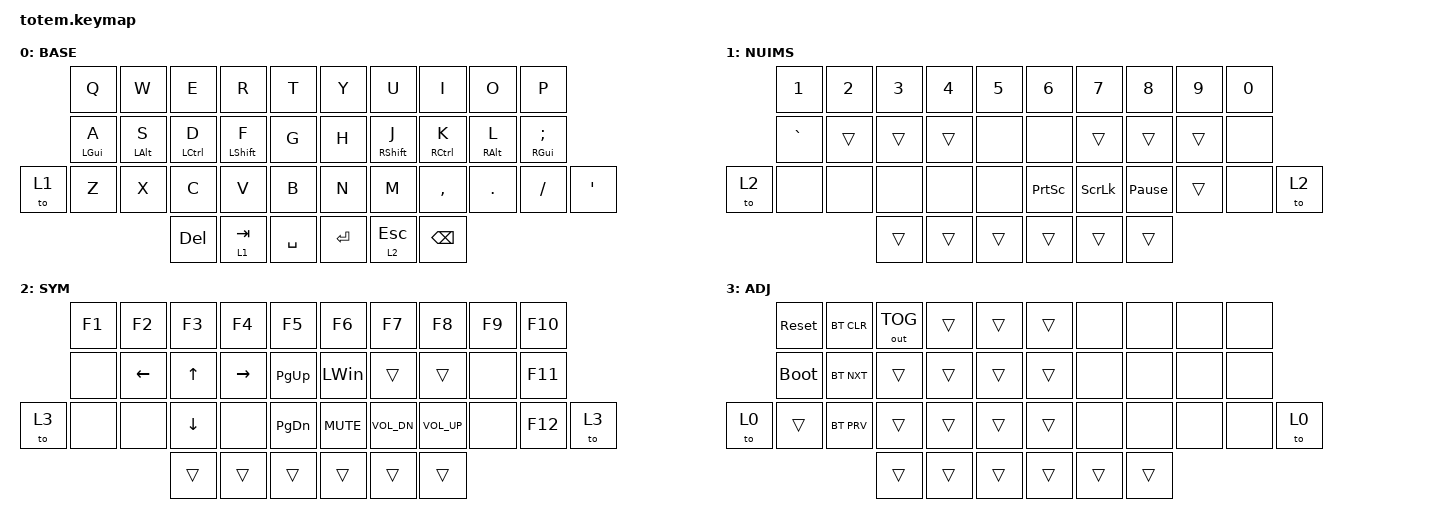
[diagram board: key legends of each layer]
//
//                                                        ▀▀▀▀▀     ▀▀▀▀▀          ▀▀█▀▀
//                                                        ▄▀▀▀▄  ▄  ▄▀▀▀▄  ▄  ▄▀▀▀▄  █  ▄▀▀▀▄
//                                                        █   █  █  █   █  █  █   █  █  █   █
//                                                         ▀▀▀   █   ▀▀▀   █   ▀▀▀   ▀   ▀▀▀
//                                                               █      ▄▄▄█▄▄▄    █   █  
//                                                               ▀      █  █  █     █▄█
//                                                             ▀▀▀▀▀    █  █  █      ▀
//                                                                      ▀  ▀  ▀
//
// ▄▄▄▄▄▄▄▄▄▄▄▄▄▄▄▄▄▄▄▄▄▄▄▄▄▄▄▄▄▄▄▄▄▄▄▄▄▄▄▄▄▄▄▄▄▄▄▄▄▄▄▄▄▄▄▄▄▄▄▄▄▄▄▄▄▄▄▄▄▄▄▄▄▄▄▄▄▄▄▄▄▄▄▄▄▄▄▄▄▄▄▄▄▄▄▄▄▄▄▄▄▄▄▄▄▄▄▄▄▄▄▄▄▄▄▄▄▄▄▄▄▄▄▄▄▄▄▄▄▄▄▄▄▄▄▄▄▄▄▄▄▄▄▄▄▄▄▄▄

#include <behaviors.dtsi>
#include <dt-bindings/zmk/bt.h>
#include <dt-bindings/zmk/keys.h>
#include <dt-bindings/zmk/outputs.h>

#define BASE 0
#define NAV  1
#define SYM  2
#define ADJ  3
#define TVP1 4
#define TVP2 5

&mt {
    quick-tap-ms = <100>;
    global-quick-tap;
    flavor = "tap-preferred";
    tapping-term-ms = <220>;
};

/ {
    combos {
        compatible = "zmk,combos";

        combo_esc {
            timeout-ms = <50>;
            key-positions = <0 1>;
            bindings = <&kp ESC>;
        };

        combo_tvp {
            timeout-ms = <100>;
            key-positions = <12 13 11>;
            bindings = <&to 0>;
        };
    };

    macros {
        gif: gif {
            label = "giphy";
            compatible = "zmk,behavior-macro";
            #binding-cells = <0>;
            bindings =
                <&macro_press>,
                <&kp LSHFT>,
                <&macro_tap>,
                <&kp N2>,
                <&macro_release>,
                <&kp LSHFT>,
                <&macro_tap>,
                <&kp G &kp I &kp F>;
        };
    };

    keymap {
        compatible = "zmk,keymap";

        // ▄▄▄▄▄▄▄▄▄▄▄▄▄▄▄▄▄▄▄▄▄▄▄▄▄▄▄▄▄▄▄▄▄▄▄▄▄▄▄▄▄▄▄▄▄▄▄▄▄▄▄▄▄▄▄▄▄▄▄▄▄▄▄▄▄▄▄▄▄▄▄▄▄▄▄▄▄▄▄▄▄▄▄▄▄▄▄▄▄▄▄▄▄▄▄▄▄▄▄▄▄▄▄▄▄▄▄▄▄▄▄▄▄▄▄▄▄▄▄▄▄▄▄▄▄▄▄▄▄▄▄▄▄▄▄▄▄▄▄▄▄▄▄▄▄▄▄▄▄

        base_layer {
            // ┏━━━━━━━━━━━━━━━━━━━━━━━━━━━━━━━━━━━━━━━┓

            label = "BASE";

            // ┗━━━━━━━━━━━━━━━━━━━━━━━━━━━━━━━━━━━━━━━┛
            //             ┏━━━━━━━━━━━┳━━━━━━━━━━━┳━━━━━━━━━━━┳━━━━━━━━━━━┳━━━━━━━━━━━┓   ┏━━━━━━━━━━━┳━━━━━━━━━━━┳━━━━━━━━━━━┳━━━━━━━━━━━┳━━━━━━━━━━━┓
            //             ┃     Q     ┃     W     ┃     F     ┃     P     ┃     G     ┃   ┃     J     ┃     L     ┃     U     ┃     Y     ┃     ;     ┃
            //             ┣━━━━━━━━━━━╋━━━━━━━━━━━╋━━━━━━━━━━━╋━━━━━━━━━━━╋━━━━━━━━━━━┫   ┣━━━━━━━━━━━╋━━━━━━━━━━━╋━━━━━━━━━━━╋━━━━━━━━━━━╋━━━━━━━━━━━┫
            //             ┃     A     ┃     R     ┃     S     ┃     T     ┃     D     ┃   ┃     H     ┃     N     ┃     E     ┃     I     ┃     O     ┃
            // ┏━━━━━━━━━━━╋━━━━━━━━━━━╋━━━━━━━━━━━╋━━━━━━━━━━━╋━━━━━━━━━━━╋━━━━━━━━━━━┫   ┣━━━━━━━━━━━╋━━━━━━━━━━━╋━━━━━━━━━━━╋━━━━━━━━━━━╋━━━━━━━━━━━╋━━━━━━━━━━━┓
            // ┃     Q     ┃     Z     ┃     X     ┃     C     ┃     V     ┃     B     ┃   ┃     K     ┃     M     ┃     ,     ┃     .     ┃     /     ┃     \     ┃
            // ┗━━━━━━━━━━━┻━━━━━━━━━━━┻━━━━━━━━━━━╋━━━━━━━━━━━╋━━━━━━━━━━━╋━━━━━━━━━━━┫   ┣━━━━━━━━━━━╋━━━━━━━━━━━╋━━━━━━━━━━━╋━━━━━━━━━━━┻━━━━━━━━━━━┻━━━━━━━━━━━┛
            //                                     ┃    DEL    ┃    TAB    ┃    SPC    ┃   ┃   ENTER   ┃           ┃   BSPC    ┃
            //                                     ┗━━━━━━━━━━━┻━━━━━━━━━━━┻━━━━━━━━━━━┛   ┗━━━━━━━━━━━┻━━━━━━━━━━━┻━━━━━━━━━━━┛

            bindings = <
       &kp Q       &kp W       &kp E        &kp R        &kp T        &kp Y    &kp U        &kp I        &kp O       &kp P
       &mt LGUI A  &mt LALT S  &mt LCTRL D  &mt LSHFT F  &kp G        &kp H    &mt RSHFT J  &mt RCTRL K  &mt RALT L  &mt RGUI SEMICOLON
&to 1  &kp Z       &kp X       &kp C        &kp V        &kp B        &kp N    &kp M        &kp COMMA    &kp DOT     &kp FSLH            &kp SQT
                               &kp DEL      &lt 1 TAB    &kp SPACE    &kp RET  &lt 2 ESC    &kp BSPC
            >;
        };

        // ▄▄▄▄▄▄▄▄▄▄▄▄▄▄▄▄▄▄▄▄▄▄▄▄▄▄▄▄▄▄▄▄▄▄▄▄▄▄▄▄▄▄▄▄▄▄▄▄▄▄▄▄▄▄▄▄▄▄▄▄▄▄▄▄▄▄▄▄▄▄▄▄▄▄▄▄▄▄▄▄▄▄▄▄▄▄▄▄▄▄▄▄▄▄▄▄▄▄▄▄▄▄▄▄▄▄▄▄▄▄▄▄▄▄▄▄▄▄▄▄▄▄▄▄▄▄▄▄▄▄▄▄▄▄▄▄▄▄▄▄▄▄▄▄▄▄▄▄▄

        nav_layer {
            // ┏━━━━━━━━━━━━━━━━━━━━━━━━━━━━━━━━━━━━━━━┓

            label = "NUIMS";

            // ┗━━━━━━━━━━━━━━━━━━━━━━━━━━━━━━━━━━━━━━━┛
            //             ┏━━━━━━━━━━━┳━━━━━━━━━━━┳━━━━━━━━━━━┳━━━━━━━━━━━┳━━━━━━━━━━━┓   ┏━━━━━━━━━━━┳━━━━━━━━━━━┳━━━━━━━━━━━┳━━━━━━━━━━━┳━━━━━━━━━━━┓
            //             ┃           ┃           ┃     UP    ┃           ┃     {     ┃   ┃     }     ┃     7     ┃     8     ┃     9     ┃     +     ┃
            //             ┣━━━━━━━━━━━╋━━━━━━━━━━━╋━━━━━━━━━━━╋━━━━━━━━━━━╋━━━━━━━━━━━┫   ┣━━━━━━━━━━━╋━━━━━━━━━━━╋━━━━━━━━━━━╋━━━━━━━━━━━╋━━━━━━━━━━━┫
            //             ┃   SHIFT   ┃   LEFT    ┃    DOWN   ┃   RIGHT   ┃     [     ┃   ┃     ]     ┃     4     ┃     5     ┃     6     ┃     -     ┃
            // ┏━━━━━━━━━━━╋━━━━━━━━━━━╋━━━━━━━━━━━╋━━━━━━━━━━━╋━━━━━━━━━━━╋━━━━━━━━━━━┫   ┣━━━━━━━━━━━╋━━━━━━━━━━━╋━━━━━━━━━━━╋━━━━━━━━━━━╋━━━━━━━━━━━╋━━━━━━━━━━━┓
            // ┃           ┃           ┃   P UP    ┃  C LOCK   ┃  P DOWN   ┃     (     ┃   ┃     )     ┃     1     ┃     2     ┃     3     ┃     *     ┃           ┃
            // ┗━━━━━━━━━━━┻━━━━━━━━━━━┻━━━━━━━━━━━╋━━━━━━━━━━━╋━━━━━━━━━━━╋━━━━━━━━━━━┫   ┣━━━━━━━━━━━╋━━━━━━━━━━━╋━━━━━━━━━━━╋━━━━━━━━━━━┻━━━━━━━━━━━┻━━━━━━━━━━━┛
            //                                     ┃           ┃    TAB    ┃    SPC    ┃   ┃    DEL    ┃     0     ┃           ┃
            //                                     ┗━━━━━━━━━━━┻━━━━━━━━━━━┻━━━━━━━━━━━┛   ┗━━━━━━━━━━━┻━━━━━━━━━━━┻━━━━━━━━━━━┛

            bindings = <
       &kp NUMBER_1  &kp NUMBER_2  &kp NUMBER_3  &kp NUMBER_4  &kp N5    &kp NUMBER_6  &kp N7          &kp N8           &kp N9  &kp N0
       &kp GRAVE     &trans        &trans        &trans        &none     &none         &trans          &trans           &trans  &none
&to 2  &none         &none         &none         &none         &none     &kp PSCRN     &kp SCROLLLOCK  &kp PAUSE_BREAK  &trans  &none   &to 2
                                   &trans        &trans        &trans    &trans        &trans          &trans
            >;
        };

        // ▄▄▄▄▄▄▄▄▄▄▄▄▄▄▄▄▄▄▄▄▄▄▄▄▄▄▄▄▄▄▄▄▄▄▄▄▄▄▄▄▄▄▄▄▄▄▄▄▄▄▄▄▄▄▄▄▄▄▄▄▄▄▄▄▄▄▄▄▄▄▄▄▄▄▄▄▄▄▄▄▄▄▄▄▄▄▄▄▄▄▄▄▄▄▄▄▄▄▄▄▄▄▄▄▄▄▄▄▄▄▄▄▄▄▄▄▄▄▄▄▄▄▄▄▄▄▄▄▄▄▄▄▄▄▄▄▄▄▄▄▄▄▄▄▄▄▄▄▄

        sim_layer {
            // ┏━━━━━━━━━━━━━━━━━━━━━━━━━━━━━━━━━━━━━━━┓

            label = "SYM";

            // ┗━━━━━━━━━━━━━━━━━━━━━━━━━━━━━━━━━━━━━━━┛
            //             ┏━━━━━━━━━━━┳━━━━━━━━━━━┳━━━━━━━━━━━┳━━━━━━━━━━━┳━━━━━━━━━━━┓   ┏━━━━━━━━━━━┳━━━━━━━━━━━┳━━━━━━━━━━━┳━━━━━━━━━━━┳━━━━━━━━━━━┓
            //             ┃     !     ┃     @     ┃     #     ┃     $     ┃     %     ┃   ┃     ˆ     ┃     &     ┃     Ü     ┃     '     ┃     "     ┃
            //             ┣━━━━━━━━━━━╋━━━━━━━━━━━╋━━━━━━━━━━━╋━━━━━━━━━━━╋━━━━━━━━━━━┫   ┣━━━━━━━━━━━╋━━━━━━━━━━━╋━━━━━━━━━━━╋━━━━━━━━━━━╋━━━━━━━━━━━┫
            //             ┃     Ä     ┃           ┃    SZ     ┃           ┃           ┃   ┃   MUTE    ┃   YEN     ┃   EURO    ┃  POUND    ┃     Ö     ┃
            // ┏━━━━━━━━━━━╋━━━━━━━━━━━╋━━━━━━━━━━━╋━━━━━━━━━━━╋━━━━━━━━━━━╋━━━━━━━━━━━┫   ┣━━━━━━━━━━━╋━━━━━━━━━━━╋━━━━━━━━━━━╋━━━━━━━━━━━╋━━━━━━━━━━━╋━━━━━━━━━━━┓
            // ┃           ┃  EMAIL1   ┃  EMAIL2   ┃           ┃           ┃           ┃   ┃   VOL-    ┃   VOL+    ┃   LAST    ┃   NEXT    ┃     \     ┃           ┃
            // ┗━━━━━━━━━━━┻━━━━━━━━━━━┻━━━━━━━━━━━╋━━━━━━━━━━━╋━━━━━━━━━━━╋━━━━━━━━━━━┫   ┣━━━━━━━━━━━╋━━━━━━━━━━━╋━━━━━━━━━━━╋━━━━━━━━━━━┻━━━━━━━━━━━┻━━━━━━━━━━━┛
            //                                     ┃           ┃    GIF    ┃    ADJ    ┃   ┃           ┃           ┃           ┃
            //                                     ┗━━━━━━━━━━━┻━━━━━━━━━━━┻━━━━━━━━━━━┛   ┗━━━━━━━━━━━┻━━━━━━━━━━━┻━━━━━━━━━━━┛

            bindings = <
       &kp F1  &kp F2          &kp F3        &kp F4     &kp F5           &kp F6        &kp F7        &kp F8        &kp F9  &kp F10
       &none   &kp LEFT_ARROW  &kp UP_ARROW  &kp RIGHT  &kp PAGE_UP      &kp LEFT_WIN  &trans        &trans        &none   &kp F11
&to 3  &none   &none           &kp DOWN      &none      &kp PAGE_DOWN    &kp C_MUTE    &kp C_VOL_DN  &kp C_VOL_UP  &none   &kp F12  &to 3
                               &trans        &trans     &trans           &trans        &trans        &trans
            >;
        };

        // ▄▄▄▄▄▄▄▄▄▄▄▄▄▄▄▄▄▄▄▄▄▄▄▄▄▄▄▄▄▄▄▄▄▄▄▄▄▄▄▄▄▄▄▄▄▄▄▄▄▄▄▄▄▄▄▄▄▄▄▄▄▄▄▄▄▄▄▄▄▄▄▄▄▄▄▄▄▄▄▄▄▄▄▄▄▄▄▄▄▄▄▄▄▄▄▄▄▄▄▄▄▄▄▄▄▄▄▄▄▄▄▄▄▄▄▄▄▄▄▄▄▄▄▄▄▄▄▄▄▄▄▄▄▄▄▄▄▄▄▄▄▄▄▄▄▄▄▄▄

        adjust_layer {
            // ┏━━━━━━━━━━━━━━━━━━━━━━━━━━━━━━━━━━━━━━━┓

            label = "ADJ";

            // ┗━━━━━━━━━━━━━━━━━━━━━━━━━━━━━━━━━━━━━━━┛
            //             ┏━━━━━━━━━━━┳━━━━━━━━━━━┳━━━━━━━━━━━┳━━━━━━━━━━━┳━━━━━━━━━━━┓   ┏━━━━━━━━━━━┳━━━━━━━━━━━┳━━━━━━━━━━━┳━━━━━━━━━━━┳━━━━━━━━━━━┓
            //             ┃   RESET   ┃ BT CLEAR  ┃  OUT TOG  ┃           ┃           ┃   ┃           ┃    F7     ┃    F8     ┃    F9     ┃    F12    ┃
            //             ┣━━━━━━━━━━━╋━━━━━━━━━━━╋━━━━━━━━━━━╋━━━━━━━━━━━╋━━━━━━━━━━━┫   ┣━━━━━━━━━━━╋━━━━━━━━━━━╋━━━━━━━━━━━╋━━━━━━━━━━━╋━━━━━━━━━━━┫
            //             ┃ BOOTLOAD  ┃ BT NEXT   ┃           ┃           ┃           ┃   ┃           ┃    F4     ┃    F5     ┃    F6     ┃    F11    ┃
            // ┏━━━━━━━━━━━╋━━━━━━━━━━━╋━━━━━━━━━━━╋━━━━━━━━━━━╋━━━━━━━━━━━╋━━━━━━━━━━━┫   ┣━━━━━━━━━━━╋━━━━━━━━━━━╋━━━━━━━━━━━╋━━━━━━━━━━━╋━━━━━━━━━━━╋━━━━━━━━━━━┓
            // ┃           ┃           ┃ BT PREV   ┃           ┃           ┃           ┃   ┃           ┃    F1     ┃    F2     ┃    F3     ┃    F10    ┃           ┃
            // ┗━━━━━━━━━━━┻━━━━━━━━━━━┻━━━━━━━━━━━╋━━━━━━━━━━━╋━━━━━━━━━━━╋━━━━━━━━━━━┫   ┣━━━━━━━━━━━╋━━━━━━━━━━━╋━━━━━━━━━━━╋━━━━━━━━━━━┻━━━━━━━━━━━┻━━━━━━━━━━━┛
            //                                     ┃           ┃           ┃           ┃   ┃           ┃           ┃           ┃
            //                                     ┗━━━━━━━━━━━┻━━━━━━━━━━━┻━━━━━━━━━━━┛   ┗━━━━━━━━━━━┻━━━━━━━━━━━┻━━━━━━━━━━━┛

            bindings = <
       &sys_reset   &bt BT_CLR  &out OUT_TOG  &trans  &trans    &trans  &none   &none   &none  &none
       &bootloader  &bt BT_NXT  &trans        &trans  &trans    &trans  &none   &none   &none  &none
&to 0  &trans       &bt BT_PRV  &trans        &trans  &trans    &trans  &none   &none   &none  &none  &to 0
                                &trans        &trans  &trans    &trans  &trans  &trans
            >;
        };

        // ▄▄▄▄▄▄▄▄▄▄▄▄▄▄▄▄▄▄▄▄▄▄▄▄▄▄▄▄▄▄▄▄▄▄▄▄▄▄▄▄▄▄▄▄▄▄▄▄▄▄▄▄▄▄▄▄▄▄▄▄▄▄▄▄▄▄▄▄▄▄▄▄▄▄▄▄▄▄▄▄▄▄▄▄▄▄▄▄▄▄▄▄▄▄▄▄▄▄▄▄▄▄▄▄▄▄▄▄▄▄▄▄▄▄▄▄▄▄▄▄▄▄▄▄▄▄▄▄▄▄▄▄▄▄▄▄▄▄▄▄▄▄▄▄▄▄▄▄▄
        // ▄▄▄▄▄▄▄▄▄▄▄▄▄▄▄▄▄▄▄▄▄▄▄▄▄▄▄▄▄▄▄▄▄▄▄▄▄▄▄▄▄▄▄▄▄▄▄▄▄▄▄▄▄▄▄▄▄▄▄▄▄▄▄▄▄▄▄▄▄▄▄▄▄▄▄▄▄▄▄▄▄▄▄▄▄▄▄▄▄▄▄▄▄▄▄▄▄▄▄▄▄▄▄▄▄▄▄▄▄▄▄▄▄▄▄▄▄▄▄▄▄▄▄▄▄▄▄▄▄▄▄▄▄▄▄▄▄▄▄▄▄▄▄▄▄▄▄▄▄
    };
};
